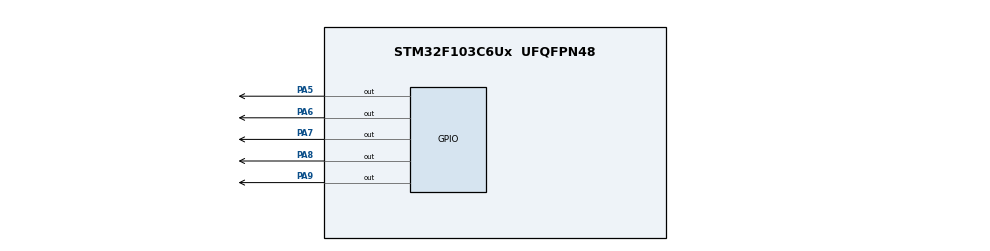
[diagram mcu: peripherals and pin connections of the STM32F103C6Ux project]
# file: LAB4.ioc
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Mcu.Family=STM32F1
Mcu.Name=STM32F103C6Ux
Mcu.Package=UFQFPN48
NVIC.PriorityGroup=NVIC_PRIORITYGROUP_4
NVIC.TIM2_IRQn=true\:0\:0\:false\:false\:true\:true\:true
PA5.PinState=GPIO_PIN_SET
PA5.Signal=GPIO_Output
PA6.Signal=GPIO_Output
PA7.Signal=GPIO_Output
PA8.Signal=GPIO_Output
PA9.Signal=GPIO_Output
ProjectManager.HeapSize=0x200
ProjectManager.StackSize=0x400
ProjectManager.TargetToolchain=STM32CubeIDE
RCC.APB1Freq_Value=8000000
RCC.APB2Freq_Value=8000000
TIM2.Period=9
TIM2.Prescaler=7999
VP_SYS_VS_ND.Mode=No_Debug
VP_TIM2_VS_ClockSourceINT.Mode=Internal
board=custom

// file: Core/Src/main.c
/* USER CODE BEGIN Header */
/**
  ******************************************************************************
  * @file           : main.c
  * @brief          : Main program body
  ******************************************************************************
  * @attention
  *
  * <h2><center>&copy; Copyright (c) 2022 STMicroelectronics.
  * All rights reserved.</center></h2>
  *
  * This software component is licensed by ST under BSD 3-Clause license,
  * the "License"; You may not use this file except in compliance with the
  * License. You may obtain a copy of the License at:
  *                        opensource.org/licenses/BSD-3-Clause
  *
  ******************************************************************************
  */
/* USER CODE END Header */
#include "main.h"

/* USER CODE BEGIN Includes */
#include "scheduler.h"
/* USER CODE END Includes */

TIM_HandleTypeDef htim2;

void SystemClock_Config(void);
static void MX_GPIO_Init(void);
static void MX_TIM2_Init(void);

/* USER CODE BEGIN 0 */
void led_red(){
	HAL_GPIO_TogglePin(GPIOA, GPIO_PIN_9);
}
void led_green(){
	HAL_GPIO_TogglePin(GPIOA, GPIO_PIN_8);
}
void led_blue(){
	HAL_GPIO_TogglePin(GPIOA, GPIO_PIN_7);
}
void led_purple(){
	HAL_GPIO_TogglePin(GPIOA, GPIO_PIN_6);
}
void led_yellow(){
	HAL_GPIO_TogglePin(GPIOA, GPIO_PIN_5);
}
/* USER CODE END 0 */

int main(void)
{

  /* MCU Configuration--------------------------------------------------------*/

  /* Reset of all peripherals, Initializes the Flash interface and the Systick. */
  HAL_Init();

  /* Configure the system clock */
  SystemClock_Config();

  /* Initialize all configured peripherals */
  MX_GPIO_Init();
  MX_TIM2_Init();
  /* USER CODE BEGIN 2 */
  HAL_TIM_Base_Start_IT(&htim2);
  SCH_Add_Task(led_yellow, 10, 50);
  SCH_Add_Task(led_purple, 10,100);
  SCH_Add_Task(led_blue, 0,150);
  SCH_Add_Task(led_green, 200,0);
  SCH_Add_Task(led_red, 0,0);
  /* USER CODE END 2 */

  /* Infinite loop */
  /* USER CODE BEGIN WHILE */
  while (1)
  {
	  SCH_Dispatch_Tasks();
    /* USER CODE END WHILE */

  }
}

void SystemClock_Config(void)
{
  RCC_OscInitTypeDef RCC_OscInitStruct = {0};
  RCC_ClkInitTypeDef RCC_ClkInitStruct = {0};

  /** Initializes the RCC Oscillators according to the specified parameters
  * in the RCC_OscInitTypeDef structure.
  */
  RCC_OscInitStruct.OscillatorType = RCC_OSCILLATORTYPE_HSI;
  RCC_OscInitStruct.HSIState = RCC_HSI_ON;
  RCC_OscInitStruct.HSICalibrationValue = RCC_HSICALIBRATION_DEFAULT;
  RCC_OscInitStruct.PLL.PLLState = RCC_PLL_NONE;
  if (HAL_RCC_OscConfig(&RCC_OscInitStruct) != HAL_OK)
  {
    Error_Handler();
  }
  /** Initializes the CPU, AHB and APB buses clocks
  */
  RCC_ClkInitStruct.ClockType = RCC_CLOCKTYPE_HCLK|RCC_CLOCKTYPE_SYSCLK
                              |RCC_CLOCKTYPE_PCLK1|RCC_CLOCKTYPE_PCLK2;
  RCC_ClkInitStruct.SYSCLKSource = RCC_SYSCLKSOURCE_HSI;
  RCC_ClkInitStruct.AHBCLKDivider = RCC_SYSCLK_DIV1;
  RCC_ClkInitStruct.APB1CLKDivider = RCC_HCLK_DIV1;
  RCC_ClkInitStruct.APB2CLKDivider = RCC_HCLK_DIV1;

  if (HAL_RCC_ClockConfig(&RCC_ClkInitStruct, FLASH_LATENCY_0) != HAL_OK)
  {
    Error_Handler();
  }
}

static void MX_TIM2_Init(void)
{

  TIM_ClockConfigTypeDef sClockSourceConfig = {0};
  TIM_MasterConfigTypeDef sMasterConfig = {0};

  htim2.Instance = TIM2;
  htim2.Init.Prescaler = 7999;
  htim2.Init.CounterMode = TIM_COUNTERMODE_UP;
  htim2.Init.Period = 9;
  htim2.Init.ClockDivision = TIM_CLOCKDIVISION_DIV1;
  htim2.Init.AutoReloadPreload = TIM_AUTORELOAD_PRELOAD_DISABLE;
  if (HAL_TIM_Base_Init(&htim2) != HAL_OK)
  {
    Error_Handler();
  }
  sClockSourceConfig.ClockSource = TIM_CLOCKSOURCE_INTERNAL;
  if (HAL_TIM_ConfigClockSource(&htim2, &sClockSourceConfig) != HAL_OK)
  {
    Error_Handler();
  }
  sMasterConfig.MasterOutputTrigger = TIM_TRGO_RESET;
  sMasterConfig.MasterSlaveMode = TIM_MASTERSLAVEMODE_DISABLE;
  if (HAL_TIMEx_MasterConfigSynchronization(&htim2, &sMasterConfig) != HAL_OK)
  {
    Error_Handler();
  }

}

static void MX_GPIO_Init(void)
{
  GPIO_InitTypeDef GPIO_InitStruct = {0};

  /* GPIO Ports Clock Enable */
  __HAL_RCC_GPIOA_CLK_ENABLE();

  /*Configure GPIO pin Output Level */
  HAL_GPIO_WritePin(GPIOA, GPIO_PIN_5, GPIO_PIN_SET);

  /*Configure GPIO pin Output Level */
  HAL_GPIO_WritePin(GPIOA, GPIO_PIN_6|GPIO_PIN_7|GPIO_PIN_8|GPIO_PIN_9, GPIO_PIN_RESET);

  /*Configure GPIO pins : PA5 PA6 PA7 PA8
                           PA9 */
  GPIO_InitStruct.Pin = GPIO_PIN_5|GPIO_PIN_6|GPIO_PIN_7|GPIO_PIN_8
                          |GPIO_PIN_9;
  GPIO_InitStruct.Mode = GPIO_MODE_OUTPUT_PP;
  GPIO_InitStruct.Pull = GPIO_NOPULL;
  GPIO_InitStruct.Speed = GPIO_SPEED_FREQ_LOW;
  HAL_GPIO_Init(GPIOA, &GPIO_InitStruct);

}

/* USER CODE BEGIN 4 */
void HAL_TIM_PeriodElapsedCallback(TIM_HandleTypeDef *htim){
	SCH_Update();
}
/* USER CODE END 4 */

void Error_Handler(void)
{
  __disable_irq();
  while (1)
  {
  }
}

/************************ (C) COPYRIGHT STMicroelectronics *****END OF FILE****/
